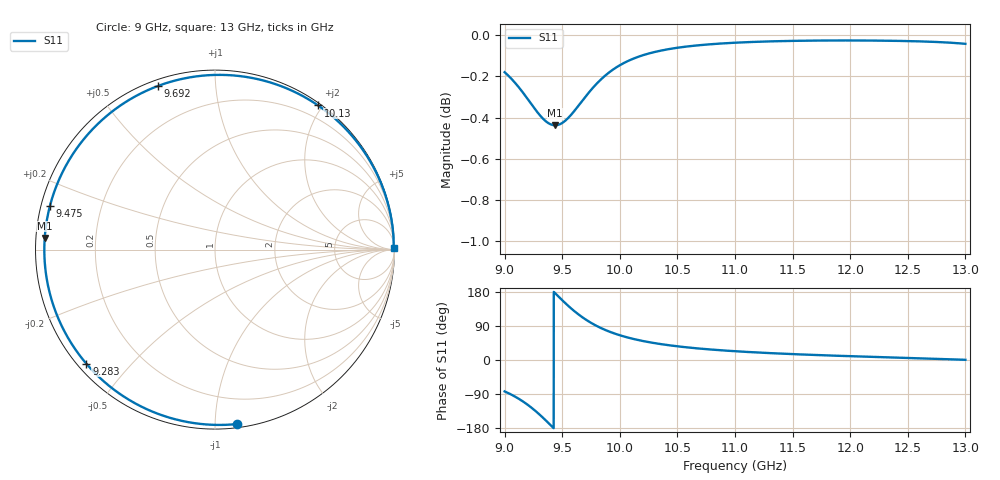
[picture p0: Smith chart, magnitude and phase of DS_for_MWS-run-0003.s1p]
! TOUCHSTONE file generated by CST DESIGN STUDIO
! Date and time: Tue Feb  4 13:17:37 2025
! Project name: C:\Work\MatlabApps\UnitCellOptimizationMatlab\CST\unitcell.cst
! Tree item: Tasks\Sweep1\SPara1\S-Parameters
! Header version: 2024
! Port assignment regex: !\s*Touchstone port\s*([0-9]+)\s*=\s*(CST MWS port|CST DES external port|CST DES block port)\s*(.+)\s* \(\"(.*)\"\)(\s*mode\s*([0-9]+))?.*
! Touchstone port assignment:
! Touchstone port 1 = CST DES external port 1 ("")
# GHz S MA R 50
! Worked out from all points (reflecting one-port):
!   4001 points, 9 GHz to 13 GHz, reference 50 ohm
!   lowest |S11| = -0.4 dB at 9.439 GHz (marker M1), VSWR 39.73, Z = 1.26 + j1.7 ohm
!   phase of S11 starts at -83 deg and turns -277 deg over the sweep
!   S11 on the Smith chart (normalised r, x): 9 GHz: 0.02, -1.13; 9.283 GHz: 0.02, -0.38; 9.475 GHz: 0.03, +0.13; 9.692 GHz: 0.03, +0.71; 10.13 GHz: 0.03, +1.94; 13 GHz: open
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9  0.9796 -82.9
9.086  0.9741 -95.8
9.157  0.9686 -109.0
9.222  0.9631 -123.2
9.283  0.958 -138.4
9.327  0.9548 -150.5
9.366  0.9526 -161.9
9.403  0.9513 -173.0
9.439  0.9509 176.1
9.475  0.9513 165.2
9.5  0.9521 157.8
9.549  0.9546 143.8
9.596  0.9578 131.3
9.643  0.9615 119.9
9.692  0.9654 109.2
9.762  0.9707 96.0
9.844  0.976 83.3
9.92  0.98 73.7
10  0.9834 65.3
10.134  0.9874 54.4
10.299  0.9906 44.7
10.5  0.9931 36.1
10.723  0.9947 29.3
11  0.9959 23.2
11.5  0.9969 15.5
12  0.9971 10.1
12.5  0.9968 5.4
13  0.9952 0.5
